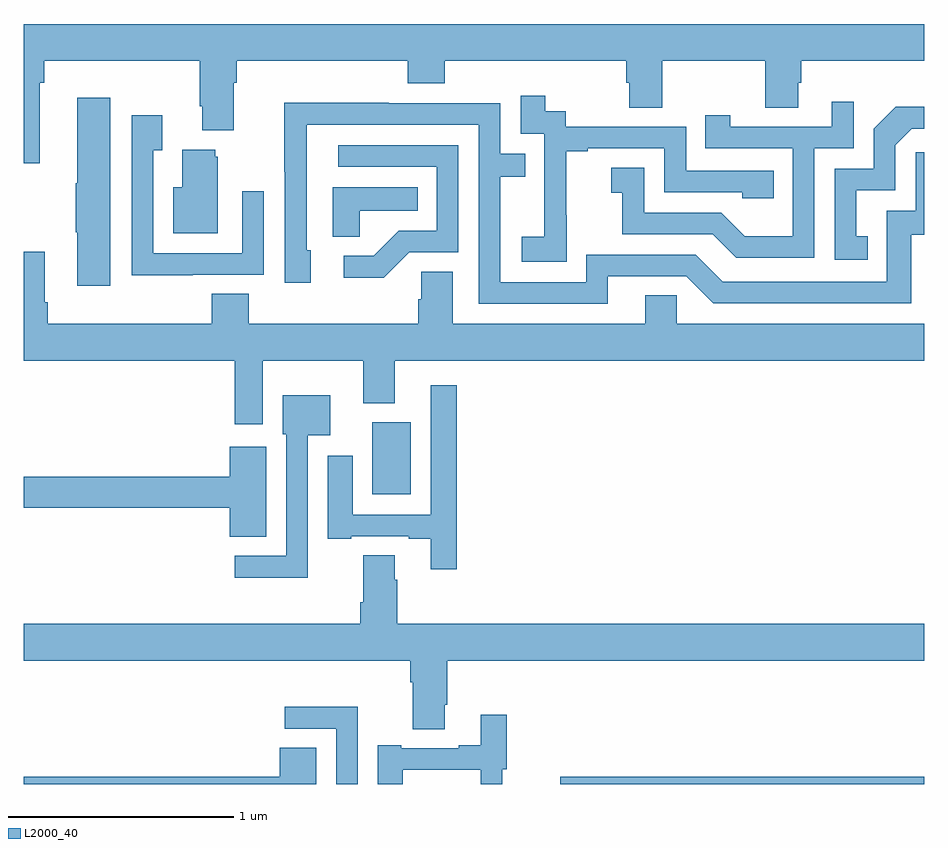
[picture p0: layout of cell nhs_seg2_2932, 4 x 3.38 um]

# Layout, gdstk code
import gdstk
lib = gdstk.Library(unit=1e-6, precision=1e-09)
def R(c, l, rs):  # rectangles x0, y0, x1, y1
    for r in rs: c.add(gdstk.rectangle(r[:2], r[2:], *l))
def P(c, l, *ps):  # polygons
    for p in ps: c.add(gdstk.Polygon(p, *l))
L2000_40 = (2000, 40)

nhs_seg2_2932 = lib.new_cell('nhs_seg2_2932')
R(nhs_seg2_2932, L2000_40, [(267.383,601.8,269,601.832), (266.549,603.086,266.719,603.406)])
P(nhs_seg2_2932, L2000_40, [(265.072,604.916),(265.091,604.916),(265.091,605.012),(265.781,605.012),(265.781,604.81),(265.793,604.81),(265.793,604.703),(265.933,604.703),(265.933,604.916),(265.946,604.916),(265.946,605.012),(266.705,605.012),(266.705,604.913),(266.87,604.913),(266.87,605.012),(267.677,605.012),(267.677,604.914),(267.689,604.914),(267.689,604.804),(267.837,604.804),(267.837,605.012),(268.294,605.012),(268.294,604.804),(268.441,604.804),(268.441,604.914),(268.454,604.914),(268.454,605.012),(269,605.012),(269,605.176),(265,605.176),(265,604.557),(265.072,604.557)],
  [(267.411,604.327),(267.41,604.327),(267.41,604.611),(267.505,604.611),(267.505,604.623),(267.846,604.623),(267.846,604.428),(268.191,604.428),(268.191,604.401),(268.331,604.401),(268.331,604.524),(267.942,604.524),(267.942,604.719),(267.408,604.719),(267.408,604.788),(267.316,604.788),(267.316,604.858),(267.207,604.858),(267.207,604.689),(267.312,604.689),(267.312,604.46),(267.311,604.46),(267.311,604.231),(267.213,604.231),(267.213,604.121),(267.411,604.121)],
  [(265.384,604.849),(265.238,604.849),(265.238,604.469),(265.231,604.469),(265.231,604.252),(265.238,604.252),(265.238,604.014),(265.384,604.014)],
  [(268.512,604.623),(268.686,604.623),(268.686,604.831),(268.589,604.831),(268.589,604.719),(268.138,604.719),(268.138,604.771),(268.027,604.771),(268.027,604.623),(268.416,604.623),(268.416,604.234),(268.202,604.234),(268.098,604.338),(267.756,604.338),(267.756,604.537),(267.609,604.537),(267.609,604.427),(267.658,604.427),(267.658,604.242),(268.061,604.242),(268.166,604.137),(268.512,604.137)],
  [(267.595,604.056),(267.942,604.056),(268.062,603.936),(268.942,603.936),(268.942,604.239),(269,604.239),(269,604.606),(268.962,604.606),(268.962,604.347),(268.833,604.347),(268.833,604.032),(268.104,604.032),(267.984,604.152),(267.498,604.152),(267.498,604.029),(267.117,604.029),(267.117,604.498),(267.227,604.498),(267.227,604.599),(267.117,604.599),(267.117,604.824),(266.621,604.824),(266.621,604.826),(266.158,604.826),(266.158,604.519),(266.16,604.519),(266.16,604.026),(266.275,604.026),(266.275,604.17),(266.256,604.17),(266.256,604.728),(267.021,604.728),(267.021,603.933),(267.595,603.933)],
  [(268.748,604.233),(268.699,604.233),(268.699,604.437),(268.872,604.437),(268.872,604.638),(268.944,604.71),(269,604.71),(269,604.808),(268.874,604.808),(268.776,604.71),(268.776,604.533),(268.602,604.533),(268.602,604.128),(268.748,604.128)],
  [(265.751,604.062),(266.067,604.062),(266.067,604.432),(265.971,604.432),(265.971,604.158),(265.575,604.158),(265.575,604.615),(265.615,604.615),(265.615,604.771),(265.479,604.771),(265.479,604.061),(265.751,604.061)],
  [(266.712,604.161),(266.931,604.161),(266.931,604.638),(266.397,604.638),(266.397,604.542),(266.835,604.542),(266.835,604.257),(266.666,604.257),(266.555,604.146),(266.421,604.146),(266.421,604.049),(266.599,604.049)],
  [(265.861,604.587),(265.85,604.587),(265.85,604.618),(265.703,604.618),(265.703,604.45),(265.664,604.45),(265.664,604.247),(265.861,604.247)],
  [(266.493,604.346),(266.75,604.346),(266.75,604.45),(266.372,604.45),(266.372,604.231),(266.493,604.231)],
  [(266.062,603.68),(266.507,603.68),(266.507,603.491),(266.647,603.491),(266.647,603.68),(269,603.68),(269,603.844),(267.9,603.844),(267.9,603.971),(267.761,603.971),(267.761,603.844),(266.905,603.844),(266.905,604.076),(266.766,604.076),(266.766,603.953),(266.753,603.953),(266.753,603.844),(266,603.844),(266,603.977),(265.835,603.977),(265.835,603.844),(265.106,603.844),(265.106,603.94),(265.093,603.94),(265.093,604.165),(265,604.165),(265,603.68),(265.937,603.68),(265.937,603.399),(266.062,603.399)],
  [(266.924,603.571),(266.808,603.571),(266.808,602.997),(266.461,602.997),(266.461,603.259),(266.351,603.259),(266.351,602.889),(266.455,602.889),(266.455,602.901),(266.711,602.901),(266.711,602.889),(266.807,602.889),(266.807,602.754),(266.924,602.754)],
  [(266.262,603.35),(266.362,603.35),(266.362,603.526),(266.15,603.526),(266.15,603.354),(266.166,603.354),(266.166,602.814),(265.938,602.814),(265.938,602.717),(266.262,602.717)],
  [(266.077,603.298),(265.916,603.298),(265.916,603.164),(265,603.164),(265,603.028),(265.916,603.028),(265.916,602.899),(266.077,602.899)],
  [(266.869,602.152),(266.882,602.152),(266.882,602.348),(269,602.348),(269,602.512),(266.66,602.512),(266.66,602.708),(266.647,602.708),(266.647,602.816),(266.507,602.816),(266.507,602.608),(266.495,602.608),(266.495,602.512),(265,602.512),(265,602.348),(266.717,602.348),(266.717,602.252),(266.729,602.252),(266.729,602.044),(266.869,602.044)],
  [(266.484,602.144),(266.16,602.144),(266.16,602.046),(266.388,602.046),(266.388,601.8),(266.484,601.8)],
  [(266.683,601.863),(267.03,601.863),(267.03,601.8),(267.126,601.8),(267.126,601.866),(267.146,601.866),(267.146,602.107),(267.029,602.107),(267.029,601.972),(266.933,601.972),(266.933,601.959),(266.677,601.959),(266.677,601.972),(266.573,601.972),(266.573,601.8),(266.683,601.8)],
  [(266.299,601.961),(266.138,601.961),(266.138,601.832),(265,601.832),(265,601.8),(266.299,601.8)])

lib.write_gds('nhs_seg2_2932.gds')
